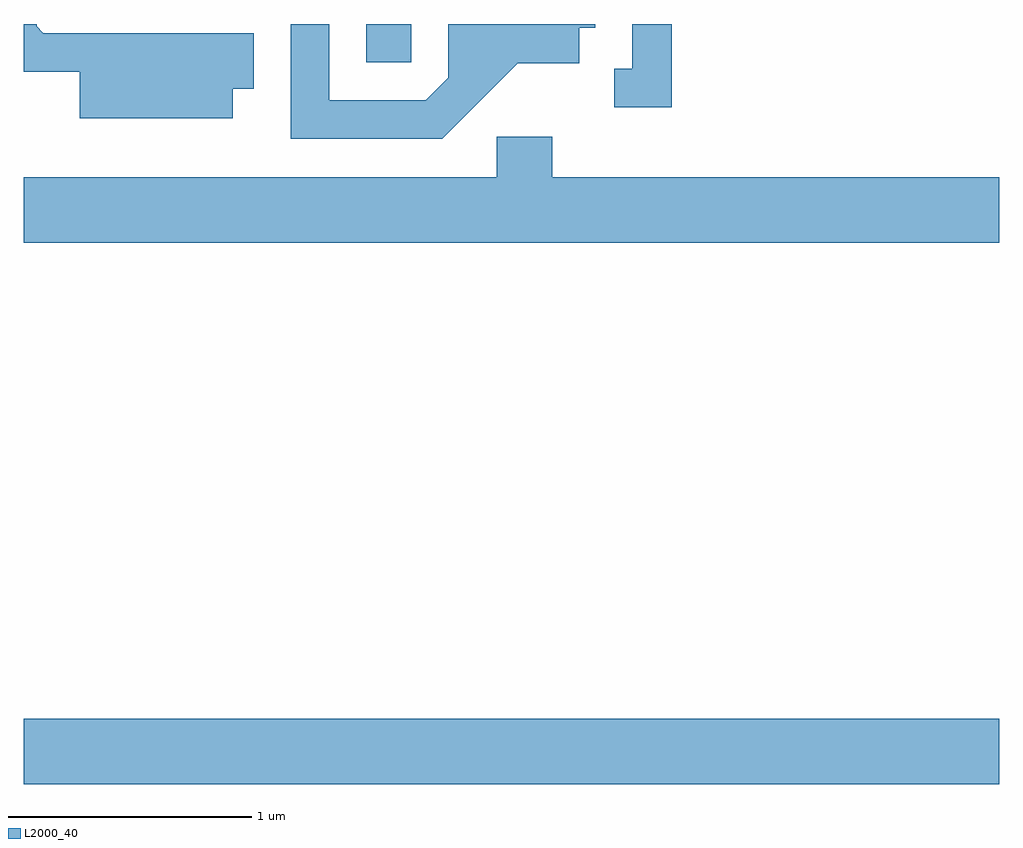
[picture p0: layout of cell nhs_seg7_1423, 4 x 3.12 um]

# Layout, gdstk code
import gdstk
lib = gdstk.Library(unit=1e-6, precision=1e-09)
def R(c, l, rs):  # rectangles x0, y0, x1, y1
    for r in rs: c.add(gdstk.rectangle(r[:2], r[2:], *l))
def P(c, l, *ps):  # polygons
    for p in ps: c.add(gdstk.Polygon(p, *l))
L2000_40 = (2000, 40)

nhs_seg7_1423 = lib.new_cell('nhs_seg7_1423')
R(nhs_seg7_1423, L2000_40, [(227.611,1783.136,231.611,1783.404), (229.016,1786.096,229.199,1786.252)])
P(nhs_seg7_1423, L2000_40, [(228.469,1785.986),(228.554,1785.986),(228.554,1786.214),(227.692,1786.214),(227.664,1786.242),(227.664,1786.252),(227.611,1786.252),(227.611,1786.056),(227.841,1786.056),(227.841,1785.866),(228.469,1785.866)],
  [(230.269,1786.252),(230.106,1786.252),(230.106,1786.069),(230.033,1786.069),(230.033,1785.911),(230.269,1785.911)],
  [(229.637,1786.091),(229.889,1786.091),(229.889,1786.236),(229.954,1786.236),(229.954,1786.252),(229.351,1786.252),(229.351,1786.032),(229.259,1785.939),(228.864,1785.939),(228.864,1786.252),(228.706,1786.252),(228.706,1785.781),(229.327,1785.781)],
  [(231.611,1785.624),(229.779,1785.624),(229.779,1785.789),(229.551,1785.789),(229.551,1785.624),(227.611,1785.624),(227.611,1785.356),(231.611,1785.356)])

lib.write_gds('nhs_seg7_1423.gds')
